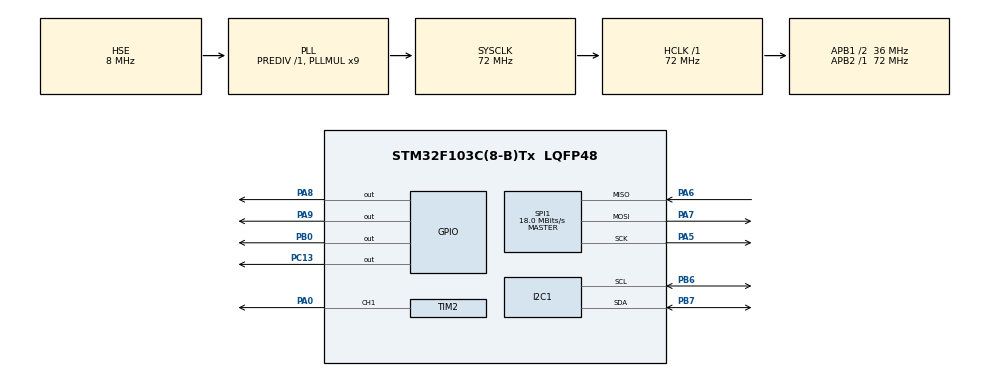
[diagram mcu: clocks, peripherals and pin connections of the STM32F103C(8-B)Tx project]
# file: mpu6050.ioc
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Mcu.Family=STM32F1
Mcu.Name=STM32F103C(8-B)Tx
Mcu.Package=LQFP48
NVIC.PriorityGroup=NVIC_PRIORITYGROUP_4
NVIC.TIM1_UP_IRQn=true\:0\:0\:false\:false\:true\:false\:true
NVIC.TimeBase=TIM1_UP_IRQn
NVIC.TimeBaseIP=TIM1
PA0-WKUP.Signal=S_TIM2_CH1_ETR
PA13.Mode=Serial_Wire
PA13.Signal=SYS_JTMS-SWDIO
PA14.Mode=Serial_Wire
PA14.Signal=SYS_JTCK-SWCLK
PA5.Mode=Full_Duplex_Master
PA5.Signal=SPI1_SCK
PA6.Mode=Full_Duplex_Master
PA6.Signal=SPI1_MISO
PA7.Mode=Full_Duplex_Master
PA7.Signal=SPI1_MOSI
PA8.Signal=GPIO_Output
PA9.Signal=GPIO_Output
PB0.Signal=GPIO_Output
PB6.Mode=I2C
PB6.Signal=I2C1_SCL
PB7.Mode=I2C
PB7.Signal=I2C1_SDA
PC13-TAMPER-RTC.Signal=GPIO_Output
PD0-OSC_IN.Mode=HSE-External-Oscillator
PD0-OSC_IN.Signal=RCC_OSC_IN
PD1-OSC_OUT.Mode=HSE-External-Oscillator
PD1-OSC_OUT.Signal=RCC_OSC_OUT
ProjectManager.HeapSize=0x200
ProjectManager.StackSize=0x400
ProjectManager.TargetToolchain=STM32CubeIDE
RCC.AHBFreq_Value=72000000
RCC.APB1CLKDivider=RCC_HCLK_DIV2
RCC.APB1Freq_Value=36000000
RCC.APB1TimFreq_Value=72000000
RCC.APB2Freq_Value=72000000
RCC.APB2TimFreq_Value=72000000
RCC.HCLKFreq_Value=72000000
RCC.PLLMUL=RCC_PLL_MUL9
RCC.PLLSourceVirtual=RCC_PLLSOURCE_HSE
RCC.SYSCLKFreq_VALUE=72000000
RCC.SYSCLKSource=RCC_SYSCLKSOURCE_PLLCLK
RCC.USBFreq_Value=72000000
SH.S_TIM2_CH1_ETR.0=TIM2_CH1,PWM Generation1 CH1
SPI1.BaudRatePrescaler=SPI_BAUDRATEPRESCALER_4
SPI1.CalculateBaudRate=18.0 MBits/s
SPI1.Direction=SPI_DIRECTION_2LINES
SPI1.Mode=SPI_MODE_MASTER
SPI1.VirtualType=VM_MASTER
TIM2.Channel-PWM\ Generation1\ CH1=TIM_CHANNEL_1
TIM2.Period=40000
TIM2.Prescaler=35
TIM2.Pulse-PWM\ Generation1\ CH1=1000
VP_SYS_VS_tim1.Mode=TIM1
board=custom

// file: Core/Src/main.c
/* USER CODE BEGIN Header */
/**
  ******************************************************************************
  * @file           : main.c
  * @brief          : Main program body
  ******************************************************************************
  * @attention
  *
  * <h2><center>&copy; Copyright (c) 2021 STMicroelectronics.
  * All rights reserved.</center></h2>
  *
  * This software component is licensed by ST under BSD 3-Clause license,
  * the "License"; You may not use this file except in compliance with the
  * License. You may obtain a copy of the License at:
  *                        opensource.org/licenses/BSD-3-Clause
  *
  ******************************************************************************
  */
/* USER CODE END Header */
#include "main.h"

/* USER CODE BEGIN Includes */
#include "sd_hal_mpu6050.h"
#include "ST7735.h"
#include "fonts.h"

#include "servo.h"
/* USER CODE END Includes */

I2C_HandleTypeDef hi2c1;

SPI_HandleTypeDef hspi1;

TIM_HandleTypeDef htim2;

/* USER CODE BEGIN PV */
float RADIANS_TO_DEGREES = 180/3.14159;
float FS_SEL = 131;
/* USER CODE END PV */

void SystemClock_Config(void);
static void MX_GPIO_Init(void);
static void MX_I2C1_Init(void);
static void MX_SPI1_Init(void);
static void MX_TIM2_Init(void);
/* USER CODE BEGIN PFP */
SD_MPU6050 mpu1;

float    base_x_accel;
float    base_y_accel;
float    base_z_accel;

float    base_x_gyro;
float    base_y_gyro;
float    base_z_gyro;

unsigned long last_read_time;
float         last_x_angle;  // These are the filtered angles
float         last_y_angle;
float         last_z_angle;
float         last_gyro_x_angle;  // Store the gyro angles to compare drift
float         last_gyro_y_angle;
float         last_gyro_z_angle;

//PID
float pitchTarget;
float pitchActual;
float pitchError;
float pitchErrorPrev;
float pitchServoVal;
float pitchErrorDerivative;
float pitchErrorIntegral;
float pitchErrorChange;

float kP, kI, kD;
uint32_t timePrev, timeNow, dt;

uint16_t angle;
servo_t servo1;

/* USER CODE END PFP */

/* USER CODE BEGIN 0 */

void calibrate_sensors() {
  int                   num_readings = 10;
  float                 x_accel = 0;
  float                 y_accel = 0;
  float                 z_accel = 0;
  float                 x_gyro = 0;
  float                 y_gyro = 0;
  float                 z_gyro = 0;

  //Serial.println("Starting Calibration");

  // Discard the first set of values read from the IMU
  SD_MPU6050_ReadGyroscope(&hi2c1,&mpu1);
  SD_MPU6050_ReadAccelerometer(&hi2c1,&mpu1);

  // Read and average the raw values from the IMU
  for (int i = 0; i < num_readings; i++) {
	  SD_MPU6050_ReadGyroscope(&hi2c1,&mpu1);
	  SD_MPU6050_ReadAccelerometer(&hi2c1,&mpu1);

    x_accel += mpu1.Accelerometer_X;
    y_accel += mpu1.Accelerometer_Y;
    z_accel += mpu1.Accelerometer_Z;
    x_gyro += mpu1.Gyroscope_X;
    y_gyro += mpu1.Gyroscope_Y;
    z_gyro += mpu1.Gyroscope_Z;
    HAL_Delay(100);
  }
  x_accel /= num_readings;
  y_accel /= num_readings;
  z_accel /= num_readings;
  x_gyro /= num_readings;
  y_gyro /= num_readings;
  z_gyro /= num_readings;

  // Store the raw calibration values globally
  base_x_accel = x_accel;
  base_y_accel = y_accel;
  base_z_accel = z_accel;
  base_x_gyro = x_gyro;
  base_y_gyro = y_gyro;
  base_z_gyro = z_gyro;
}

void set_last_read_angle_data(uint32_t time, float x, float y, float z, float x_gyro, float y_gyro, float z_gyro) {
  last_read_time = time;
  last_x_angle = x;
  last_y_angle = y;
  last_z_angle = z;
  last_gyro_x_angle = x_gyro;
  last_gyro_y_angle = y_gyro;
  last_gyro_z_angle = z_gyro;
}

/* USER CODE END 0 */

int main(void)
{

  /* MCU Configuration--------------------------------------------------------*/

  /* Reset of all peripherals, Initializes the Flash interface and the Systick. */
  HAL_Init();

  /* Configure the system clock */
  SystemClock_Config();

  /* Initialize all configured peripherals */
  MX_GPIO_Init();
  MX_I2C1_Init();
  MX_SPI1_Init();
  MX_TIM2_Init();
  /* USER CODE BEGIN 2 */

  ST7735_Init(0);
  ST7735_FillRectangle(0, 0, ST7735_WIDTH, ST7735_HEIGHT, BLACK);

  ST7735_WriteString(40, 40, "1337", Font_7x10, WHITE, BLACK);

  ST7735_WriteString(80, 80, "*", Font_16x26, WHITE, BLACK);

  Servo_Init(&servo1, &htim2, TIM_CHANNEL_1);
  HAL_Delay(100);

//  testCircles(15, RED);

//   ST7735_SetRotation(0);

  SD_MPU6050_Result result ;

  result = SD_MPU6050_Init(&hi2c1,&mpu1,SD_MPU6050_Device_0,SD_MPU6050_Accelerometer_2G,SD_MPU6050_Gyroscope_250s );

  if(result == SD_MPU6050_Result_Ok)
  {
	  HAL_GPIO_TogglePin(GPIOC, GPIO_PIN_13);
	  HAL_Delay(300);
	  HAL_GPIO_TogglePin(GPIOC, GPIO_PIN_13);
	  HAL_Delay(300);
  }

  set_last_read_angle_data(HAL_GetTick(), 0, 0, 0, 0, 0, 0);
  calibrate_sensors();

  kP = 0.5;
  kD = 30;
  kI = 0.00001;

  pitchErrorIntegral = 0;
  pitchErrorDerivative = 0;

  uint8_t straccx[5];
  uint8_t display = 0;

  Servo_SetAngle(&servo1, 90);
  /* USER CODE END 2 */

  /* Infinite loop */
  while (1)
  {

    /* USER CODE BEGIN 3 */

	  HAL_GPIO_TogglePin(GPIOC, GPIO_PIN_13);

	  SD_MPU6050_Result result = SD_MPU6050_ReadAll(&hi2c1, &mpu1);
	  if(result == SD_MPU6050_Result_Ok)
	  {
		  float gyro_x = (mpu1.Gyroscope_X - base_x_gyro)/FS_SEL;
		  float gyro_y = (mpu1.Gyroscope_Y - base_y_gyro)/FS_SEL;
		  float gyro_z = (mpu1.Gyroscope_Z - base_z_gyro)/FS_SEL;

		  float accel_x = mpu1.Accelerometer_X;
		  float accel_y = mpu1.Accelerometer_Y;
		  float accel_z = mpu1.Accelerometer_Z;

		  float accel_angle_y = atan(-1*accel_x/sqrt(pow(accel_y,2) + pow(accel_z,2)))*RADIANS_TO_DEGREES;
		  float accel_angle_x = atan(accel_y/sqrt(pow(accel_x,2) + pow(accel_z,2)))*RADIANS_TO_DEGREES;

		  int accel = accel_angle_x;

//		  ===== PID =====
		  pitchActual = accel_angle_x;
		  pitchError= pitchTarget - pitchActual;

		  timeNow = HAL_GetTick();
		  dt = timeNow - timePrev;

		  if(dt >100)
			  dt = 52;

		  pitchErrorChange = pitchError - pitchErrorPrev;

		  pitchErrorDerivative = pitchErrorChange/dt;
		  pitchErrorIntegral = pitchErrorIntegral + dt*pitchError;

		  pitchServoVal = pitchServoVal + kP*pitchError + kD*pitchErrorDerivative + kI*pitchErrorIntegral;

		  pitchErrorPrev = pitchError;
		  timePrev = timeNow;

//		  ====== PID calculation END =========
		  Servo_SetAngle(&servo1, pitchServoVal);

		  if(display){
			  ST7735_WriteString(40, 80, straccx, Font_16x26, BLACK, BLACK);
			  itoa(accel, straccx, 10);

			  ST7735_WriteString(40, 80, straccx, Font_16x26, WHITE, BLACK);

			  int servoVal = pitchServoVal;
			  ST7735_WriteString(40, 120, straccx, Font_16x26, BLACK, BLACK);
			  itoa(servoVal, straccx, 10);
			  ST7735_WriteString(40, 120, straccx, Font_16x26, WHITE, BLACK);
		  }

		  display = ~display;

		  HAL_Delay(50);

	  } else {
		  SD_MPU6050_Init(&hi2c1,&mpu1,SD_MPU6050_Device_0,SD_MPU6050_Accelerometer_2G,SD_MPU6050_Gyroscope_250s );

		  set_last_read_angle_data(HAL_GetTick(), 0, 0, 0, 0, 0, 0);
		  calibrate_sensors();
	  }
  }
  /* USER CODE END 3 */
}

void SystemClock_Config(void)
{
  RCC_OscInitTypeDef RCC_OscInitStruct = {0};
  RCC_ClkInitTypeDef RCC_ClkInitStruct = {0};

  /** Initializes the RCC Oscillators according to the specified parameters
  * in the RCC_OscInitTypeDef structure.
  */
  RCC_OscInitStruct.OscillatorType = RCC_OSCILLATORTYPE_HSE;
  RCC_OscInitStruct.HSEState = RCC_HSE_ON;
  RCC_OscInitStruct.HSEPredivValue = RCC_HSE_PREDIV_DIV1;
  RCC_OscInitStruct.HSIState = RCC_HSI_ON;
  RCC_OscInitStruct.PLL.PLLState = RCC_PLL_ON;
  RCC_OscInitStruct.PLL.PLLSource = RCC_PLLSOURCE_HSE;
  RCC_OscInitStruct.PLL.PLLMUL = RCC_PLL_MUL9;
  if (HAL_RCC_OscConfig(&RCC_OscInitStruct) != HAL_OK)
  {
    Error_Handler();
  }
  /** Initializes the CPU, AHB and APB buses clocks
  */
  RCC_ClkInitStruct.ClockType = RCC_CLOCKTYPE_HCLK|RCC_CLOCKTYPE_SYSCLK
                              |RCC_CLOCKTYPE_PCLK1|RCC_CLOCKTYPE_PCLK2;
  RCC_ClkInitStruct.SYSCLKSource = RCC_SYSCLKSOURCE_PLLCLK;
  RCC_ClkInitStruct.AHBCLKDivider = RCC_SYSCLK_DIV1;
  RCC_ClkInitStruct.APB1CLKDivider = RCC_HCLK_DIV2;
  RCC_ClkInitStruct.APB2CLKDivider = RCC_HCLK_DIV1;

  if (HAL_RCC_ClockConfig(&RCC_ClkInitStruct, FLASH_LATENCY_2) != HAL_OK)
  {
    Error_Handler();
  }
}

static void MX_I2C1_Init(void)
{

  hi2c1.Instance = I2C1;
  hi2c1.Init.ClockSpeed = 100000;
  hi2c1.Init.DutyCycle = I2C_DUTYCYCLE_2;
  hi2c1.Init.OwnAddress1 = 0;
  hi2c1.Init.AddressingMode = I2C_ADDRESSINGMODE_7BIT;
  hi2c1.Init.DualAddressMode = I2C_DUALADDRESS_DISABLE;
  hi2c1.Init.OwnAddress2 = 0;
  hi2c1.Init.GeneralCallMode = I2C_GENERALCALL_DISABLE;
  hi2c1.Init.NoStretchMode = I2C_NOSTRETCH_DISABLE;
  if (HAL_I2C_Init(&hi2c1) != HAL_OK)
  {
    Error_Handler();
  }

}

static void MX_SPI1_Init(void)
{

  /* SPI1 parameter configuration*/
  hspi1.Instance = SPI1;
  hspi1.Init.Mode = SPI_MODE_MASTER;
  hspi1.Init.Direction = SPI_DIRECTION_2LINES;
  hspi1.Init.DataSize = SPI_DATASIZE_8BIT;
  hspi1.Init.CLKPolarity = SPI_POLARITY_LOW;
  hspi1.Init.CLKPhase = SPI_PHASE_1EDGE;
  hspi1.Init.NSS = SPI_NSS_SOFT;
  hspi1.Init.BaudRatePrescaler = SPI_BAUDRATEPRESCALER_4;
  hspi1.Init.FirstBit = SPI_FIRSTBIT_MSB;
  hspi1.Init.TIMode = SPI_TIMODE_DISABLE;
  hspi1.Init.CRCCalculation = SPI_CRCCALCULATION_DISABLE;
  hspi1.Init.CRCPolynomial = 10;
  if (HAL_SPI_Init(&hspi1) != HAL_OK)
  {
    Error_Handler();
  }

}

static void MX_TIM2_Init(void)
{

  TIM_MasterConfigTypeDef sMasterConfig = {0};
  TIM_OC_InitTypeDef sConfigOC = {0};

  htim2.Instance = TIM2;
  htim2.Init.Prescaler = 35;
  htim2.Init.CounterMode = TIM_COUNTERMODE_UP;
  htim2.Init.Period = 40000;
  htim2.Init.ClockDivision = TIM_CLOCKDIVISION_DIV1;
  htim2.Init.AutoReloadPreload = TIM_AUTORELOAD_PRELOAD_DISABLE;
  if (HAL_TIM_PWM_Init(&htim2) != HAL_OK)
  {
    Error_Handler();
  }
  sMasterConfig.MasterOutputTrigger = TIM_TRGO_RESET;
  sMasterConfig.MasterSlaveMode = TIM_MASTERSLAVEMODE_DISABLE;
  if (HAL_TIMEx_MasterConfigSynchronization(&htim2, &sMasterConfig) != HAL_OK)
  {
    Error_Handler();
  }
  sConfigOC.OCMode = TIM_OCMODE_PWM1;
  sConfigOC.Pulse = 1000;
  sConfigOC.OCPolarity = TIM_OCPOLARITY_HIGH;
  sConfigOC.OCFastMode = TIM_OCFAST_DISABLE;
  if (HAL_TIM_PWM_ConfigChannel(&htim2, &sConfigOC, TIM_CHANNEL_1) != HAL_OK)
  {
    Error_Handler();
  }
  HAL_TIM_MspPostInit(&htim2);

}

static void MX_GPIO_Init(void)
{
  GPIO_InitTypeDef GPIO_InitStruct = {0};

  /* GPIO Ports Clock Enable */
  __HAL_RCC_GPIOC_CLK_ENABLE();
  __HAL_RCC_GPIOD_CLK_ENABLE();
  __HAL_RCC_GPIOA_CLK_ENABLE();
  __HAL_RCC_GPIOB_CLK_ENABLE();

  /*Configure GPIO pin Output Level */
  HAL_GPIO_WritePin(GPIOC, GPIO_PIN_13, GPIO_PIN_RESET);

  /*Configure GPIO pin Output Level */
  HAL_GPIO_WritePin(GPIOB, GPIO_PIN_0, GPIO_PIN_RESET);

  /*Configure GPIO pin Output Level */
  HAL_GPIO_WritePin(GPIOA, GPIO_PIN_8|GPIO_PIN_9, GPIO_PIN_RESET);

  /*Configure GPIO pin : PC13 */
  GPIO_InitStruct.Pin = GPIO_PIN_13;
  GPIO_InitStruct.Mode = GPIO_MODE_OUTPUT_PP;
  GPIO_InitStruct.Pull = GPIO_NOPULL;
  GPIO_InitStruct.Speed = GPIO_SPEED_FREQ_LOW;
  HAL_GPIO_Init(GPIOC, &GPIO_InitStruct);

  /*Configure GPIO pin : PB0 */
  GPIO_InitStruct.Pin = GPIO_PIN_0;
  GPIO_InitStruct.Mode = GPIO_MODE_OUTPUT_PP;
  GPIO_InitStruct.Pull = GPIO_NOPULL;
  GPIO_InitStruct.Speed = GPIO_SPEED_FREQ_LOW;
  HAL_GPIO_Init(GPIOB, &GPIO_InitStruct);

  /*Configure GPIO pins : PA8 PA9 */
  GPIO_InitStruct.Pin = GPIO_PIN_8|GPIO_PIN_9;
  GPIO_InitStruct.Mode = GPIO_MODE_OUTPUT_PP;
  GPIO_InitStruct.Pull = GPIO_NOPULL;
  GPIO_InitStruct.Speed = GPIO_SPEED_FREQ_LOW;
  HAL_GPIO_Init(GPIOA, &GPIO_InitStruct);

}

void HAL_TIM_PeriodElapsedCallback(TIM_HandleTypeDef *htim)
{
  if (htim->Instance == TIM1) {
    HAL_IncTick();
  }
}

void Error_Handler(void)
{
}

/************************ (C) COPYRIGHT STMicroelectronics *****END OF FILE****/
